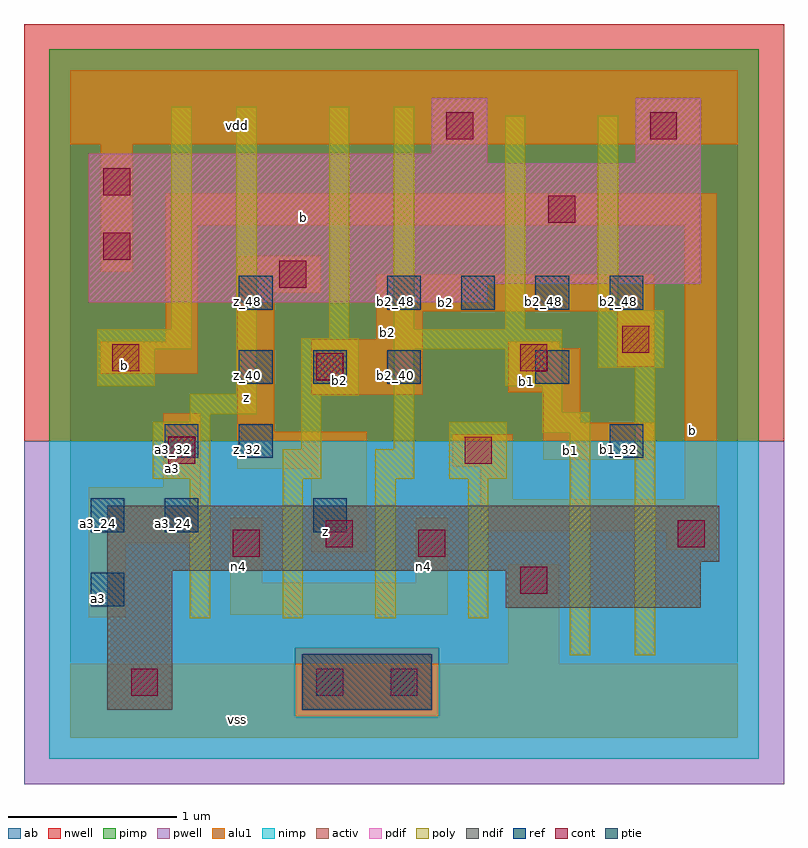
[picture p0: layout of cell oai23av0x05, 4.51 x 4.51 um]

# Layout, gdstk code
import gdstk
lib = gdstk.Library(unit=1e-6, precision=2.5e-09)
def R(c, l, rs):  # rectangles x0, y0, x1, y1
    for r in rs: c.add(gdstk.rectangle(r[:2], r[2:], *l))
def A(c, l, x, y, w, h, nx, ny, dx, dy):  # array of equal rectangles
    R(c, l, [(x+i*dx, y+j*dy, x+i*dx+w, y+j*dy+h) for i in range(nx) for j in range(ny)])
ndif = (3, 0)
pdif = (4, 0)
ptie = (6, 0)
ref = (24, 0)
cont = (25, 0)
pwell = (41, 0)
nwell = (42, 0)
activ = (43, 0)
pimp = (44, 0)
nimp = (45, 0)
poly = (46, 0)
alu1 = (49, 0)
ab = (63, 0)

oai23av0x05 = lib.new_cell('oai23av0x05')
R(oai23av0x05, ndif, [(0.22,0.165,0.605,0.99), (2.585,0.77,3.74,0.99), (0.22,0.99,3.74,1.045), (0.22,1.045,3.85,1.375)])
R(oai23av0x05, pdif, [(0.11,2.585,2.475,2.695), (0.11,2.695,3.74,3.41), (0.11,3.41,2.475,3.465), (3.355,3.41,3.74,3.795), (2.145,3.465,2.475,3.795)])
R(oai23av0x05, ptie, [(1.375,0.165,2.145,0.495)])
A(oai23av0x05, ref, 1, 2.1, 0.2, 0.2, 3, 1, 0.44, 0)
A(oai23av0x05, ref, 1.88, 2.54, 0.2, 0.2, 4, 1, 0.44, 0)
R(oai23av0x05, ref, [(0.12,0.78,0.32,0.98), (0.12,1.22,0.32,1.42), (0.56,1.22,0.76,1.42), (1.44,1.22,1.64,1.42), (0.56,1.66,0.76,1.86), (1,1.66,1.2,1.86), (3.2,1.66,3.4,1.86), (2.76,2.1,2.96,2.3), (1,2.54,1.2,2.74)])
R(oai23av0x05, cont, [(0.36,0.25,0.52,0.41), (1.46,0.25,1.62,0.41), (1.9,0.25,2.06,0.41), (2.67,0.855,2.83,1.015), (0.965,1.075,1.125,1.235), (2.065,1.075,2.225,1.235), (1.515,1.13,1.675,1.29), (3.605,1.13,3.765,1.29), (0.58,1.625,0.74,1.785), (2.34,1.625,2.5,1.785), (1.46,2.12,1.62,2.28), (0.25,2.175,0.41,2.335), (2.67,2.175,2.83,2.335), (3.275,2.285,3.435,2.445), (1.24,2.67,1.4,2.83), (0.195,2.835,0.355,2.995), (2.835,3.055,2.995,3.215), (0.195,3.22,0.355,3.38), (2.23,3.55,2.39,3.71), (3.44,3.55,3.6,3.71)])
R(oai23av0x05, pwell, [(-0.275,-0.275,4.235,1.76)])
R(oai23av0x05, nwell, [(-0.275,1.76,4.235,4.235)])
R(oai23av0x05, activ, [(0.22,0.165,0.605,0.99), (1.375,0.165,2.145,0.495), (2.585,0.77,3.74,0.99), (0.22,0.99,3.74,1.045), (0.22,1.045,3.85,1.375), (0.11,2.585,2.475,2.695), (0.11,2.695,3.74,3.41), (0.11,3.41,2.475,3.465), (3.355,3.41,3.74,3.795), (2.145,3.465,2.475,3.795)])
R(oai23av0x05, pimp, [(1.335,0.125,2.185,0.535), (-0.125,1.76,4.085,4.085)])
R(oai23av0x05, nimp, [(-0.125,-0.125,4.085,0.125), (-0.125,0.125,1.335,0.535), (2.185,0.125,4.085,0.535), (-0.125,0.535,4.085,1.76)])
A(oai23av0x05, poly, 0.71, 0.71, 0.12, 0.825, 4, 1, 0.55, 0)
R(oai23av0x05, poly, [(2.965,0.49,3.085,1.81), (3.35,0.49,3.47,2.195), (0.49,1.535,0.83,1.875), (1.26,1.535,1.49,1.71), (1.81,1.535,2.04,1.71), (2.25,1.535,2.59,1.875), (1.37,1.71,1.49,2.03), (1.92,1.71,2.04,2.305), (2.8,1.81,3.085,1.93), (0.71,1.875,0.83,1.92), (0.71,1.92,1.105,2.04), (2.8,1.93,2.92,2.085), (1.37,2.03,1.71,2.37), (0.985,2.04,1.105,3.745), (0.16,2.085,0.5,2.305), (2.58,2.085,2.92,2.305), (3.13,2.195,3.525,2.535), (0.16,2.305,0.72,2.425), (1.92,2.305,2.92,2.425), (1.535,2.37,1.655,3.745), (0.6,2.425,0.72,3.745), (1.92,2.425,2.04,3.745), (2.58,2.425,2.7,3.69), (3.13,2.535,3.25,3.69)])
R(oai23av0x05, alu1, [(0,0,3.96,0.44), (2.6,0.44,2.9,1.03), (0.11,0.715,0.33,1.155), (0.95,0.73,2.24,0.92), (0.95,0.92,1.14,1.305), (2.05,0.92,2.24,1.305), (1.43,1.1,1.76,1.595), (3.535,1.115,3.835,1.225), (0.11,1.155,0.77,1.485), (2.435,1.225,3.835,1.415), (2.435,1.415,2.625,1.61), (3.645,1.415,3.835,3.04), (0.55,1.485,0.77,1.925), (0.99,1.595,1.76,1.815), (2.27,1.61,2.625,1.8), (2.805,1.65,3.465,1.87), (0.99,1.815,1.21,2.64), (2.805,1.87,3.025,2.05), (1.43,2.035,2.09,2.365), (2.6,2.05,3.025,2.31), (0.18,2.16,0.755,2.35), (3.245,2.2,3.465,2.53), (2.6,2.31,2.9,2.35), (0.565,2.35,0.755,3.04), (1.815,2.365,2.09,2.53), (1.815,2.53,3.465,2.75), (0.99,2.64,1.485,2.86), (0.18,2.765,0.37,3.52), (0.565,3.04,3.835,3.23), (0,3.52,3.96,3.96)])
R(oai23av0x05, ab, [(0,0,3.96,3.96)])
oai23av0x05.add(gdstk.Label('vss', (0.99,0.11), layer=49, texttype=0))
oai23av0x05.add(gdstk.Label('n4', (2.0975,1.015), layer=49, texttype=0))
oai23av0x05.add(gdstk.Label('b', (3.6925,1.82), layer=49, texttype=0))
oai23av0x05.add(gdstk.Label('z', (1.5125,1.2225), layer=49, texttype=0))
oai23av0x05.add(gdstk.Label('n4', (0.9975,1.015), layer=49, texttype=0))
oai23av0x05.add(gdstk.Label('a3', (0.165,0.825), layer=49, texttype=0))
oai23av0x05.add(gdstk.Label('b1', (2.97,1.705), layer=49, texttype=0))
oai23av0x05.add(gdstk.Label('b1', (2.705,2.115), layer=49, texttype=0))
oai23av0x05.add(gdstk.Label('b2', (1.595,2.1175), layer=49, texttype=0))
oai23av0x05.add(gdstk.Label('b2', (1.8825,2.405), layer=49, texttype=0))
oai23av0x05.add(gdstk.Label('b2', (2.2275,2.585), layer=49, texttype=0))
oai23av0x05.add(gdstk.Label('z', (1.045,2.02), layer=49, texttype=0))
oai23av0x05.add(gdstk.Label('a3', (0.605,1.595), layer=49, texttype=0))
oai23av0x05.add(gdstk.Label('b', (0.3225,2.2075), layer=49, texttype=0))
oai23av0x05.add(gdstk.Label('b', (1.3825,3.0875), layer=49, texttype=0))
oai23av0x05.add(gdstk.Label('vdd', (0.99,3.63), layer=49, texttype=0))
oai23av0x05.add(gdstk.Label('a3_16', (0.17,0.83), layer=24, texttype=0))
oai23av0x05.add(gdstk.Label('b2_40', (1.49,2.15), layer=24, texttype=0))
oai23av0x05.add(gdstk.Label('b1_32', (3.25,1.71), layer=24, texttype=0))
oai23av0x05.add(gdstk.Label('b1_40', (2.81,2.15), layer=24, texttype=0))
oai23av0x05.add(gdstk.Label('z_24', (1.49,1.27), layer=24, texttype=0))
oai23av0x05.add(gdstk.Label('b2_40', (1.93,2.15), layer=24, texttype=0))
oai23av0x05.add(gdstk.Label('b2_48', (3.25,2.59), layer=24, texttype=0))
oai23av0x05.add(gdstk.Label('b2_48', (2.81,2.59), layer=24, texttype=0))
oai23av0x05.add(gdstk.Label('b2_48', (2.37,2.59), layer=24, texttype=0))
oai23av0x05.add(gdstk.Label('b2_48', (1.93,2.59), layer=24, texttype=0))
oai23av0x05.add(gdstk.Label('z_48', (1.05,2.59), layer=24, texttype=0))
oai23av0x05.add(gdstk.Label('z_32', (1.05,1.71), layer=24, texttype=0))
oai23av0x05.add(gdstk.Label('z_40', (1.05,2.15), layer=24, texttype=0))
oai23av0x05.add(gdstk.Label('a3_24', (0.17,1.27), layer=24, texttype=0))
oai23av0x05.add(gdstk.Label('a3_24', (0.61,1.27), layer=24, texttype=0))
oai23av0x05.add(gdstk.Label('a3_32', (0.61,1.71), layer=24, texttype=0))

lib.write_gds('oai23av0x05.gds')
